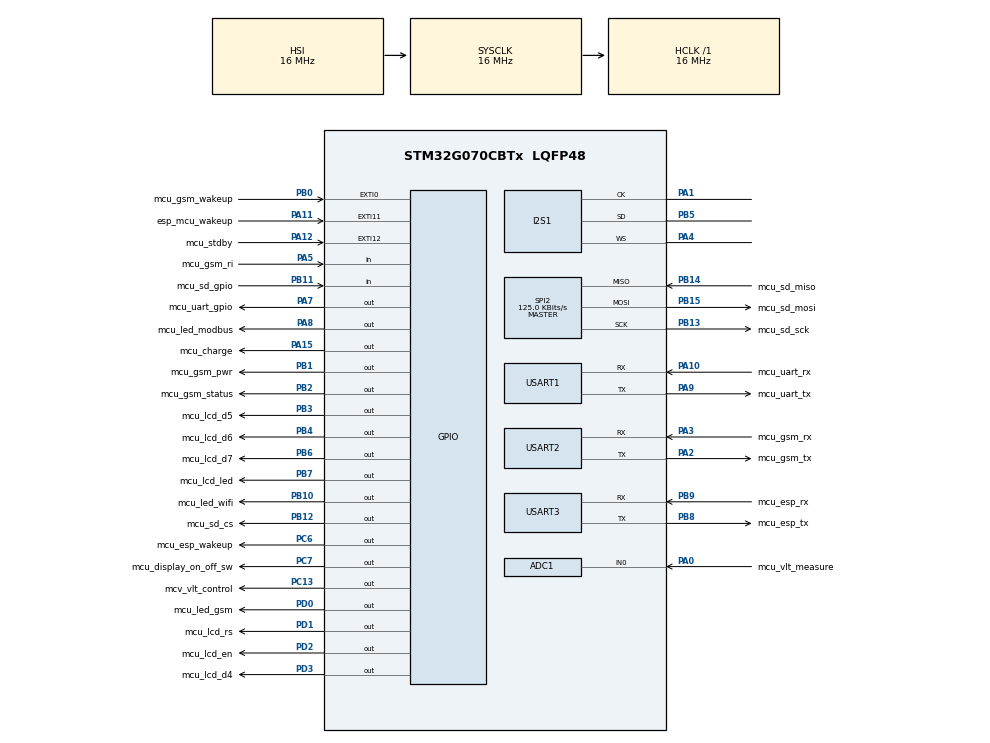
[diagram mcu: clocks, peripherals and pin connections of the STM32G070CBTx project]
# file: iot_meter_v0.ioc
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ADC1.Channel-0\#ChannelRegularConversion=ADC_CHANNEL_0
ADC1.NbrOfConversionFlag=1
ADC1.Rank-0\#ChannelRegularConversion=1
ADC1.SamplingTime-0\#ChannelRegularConversion=ADC_SAMPLINGTIME_COMMON_1
ADC1.SelectedChannel=ADC_CHANNEL_0
ADC1.master=1
Dma.Request0=USART2_RX
Dma.USART2_RX.0.Direction=DMA_PERIPH_TO_MEMORY
Dma.USART2_RX.0.EventEnable=DISABLE
Dma.USART2_RX.0.Instance=DMA1_Channel1
Dma.USART2_RX.0.MemDataAlignment=DMA_MDATAALIGN_BYTE
Dma.USART2_RX.0.MemInc=DMA_MINC_ENABLE
Dma.USART2_RX.0.Mode=DMA_NORMAL
Dma.USART2_RX.0.PeriphDataAlignment=DMA_PDATAALIGN_BYTE
Dma.USART2_RX.0.PeriphInc=DMA_PINC_DISABLE
Dma.USART2_RX.0.Polarity=HAL_DMAMUX_REQ_GEN_RISING
Dma.USART2_RX.0.Priority=DMA_PRIORITY_LOW
Dma.USART2_RX.0.RequestNumber=1
Dma.USART2_RX.0.SignalID=NONE
Dma.USART2_RX.0.SyncEnable=DISABLE
Dma.USART2_RX.0.SyncPolarity=HAL_DMAMUX_SYNC_NO_EVENT
Dma.USART2_RX.0.SyncRequestNumber=1
Dma.USART2_RX.0.SyncSignalID=NONE
FREERTOS.Mutexes01=lcdMutex,Dynamic,NULL,Available
FREERTOS.Tasks01=defaultTask,24,128,StartDefaultTask,Default,NULL,Dynamic,NULL,NULL;GSM_Task,24,256,StartGsmTask,Default,NULL,Dynamic,NULL,NULL;LCD_Task,16,256,StartLcdTask,Default,NULL,Dynamic,NULL,NULL;LED_Task,8,128,StartLedTask,Default,NULL,Dynamic,NULL,NULL;Modbus_Task,32,512,StartModbusTask,Default,NULL,Dynamic,NULL,NULL;SD_Task,24,1024,StartSdTask,Default,NULL,Dynamic,NULL,NULL;Battery_Task,8,128,StartBatteryTask,Default,NULL,Dynamic,NULL,NULL;ESP_Task,8,512,StartEspTask,Default,NULL,Dynamic,NULL,NULL
FREERTOS.configTOTAL_HEAP_SIZE=15360
I2S1.ErrorAudioFreq=-0.8 %
I2S1.FullDuplexMode=I2S_FULLDUPLEXMODE_DISABLE
I2S1.Instance=SPI$Index
I2S1.RealAudioFreq=7.936 KHz
I2S1.VirtualMode=I2S_MODE_SLAVE
Mcu.Family=STM32G0
Mcu.Name=STM32G070CBTx
Mcu.Package=LQFP48
NVIC.DMA1_Channel1_IRQn=true\:3\:0\:false\:false\:true\:true\:false\:true\:true
NVIC.TIM1_BRK_UP_TRG_COM_IRQn=true\:3\:0\:false\:false\:true\:false\:false\:true\:true
NVIC.TimeBase=TIM1_BRK_UP_TRG_COM_IRQn
NVIC.TimeBaseIP=TIM1
NVIC.USART2_IRQn=true\:3\:0\:false\:false\:true\:true\:true\:true\:true
PA0.GPIO_Label=mcu_vlt_measure
PA0.Mode=IN0
PA0.Signal=ADC1_IN0
PA1.Mode=Half_Duplex_Slave
PA1.Signal=I2S1_CK
PA10.GPIO_Label=mcu_uart_rx
PA10.Mode=Asynchronous
PA10.Signal=USART1_RX
PA11\ [PA9].GPIO_Label=esp_mcu_wakeup
PA11\ [PA9].Signal=GPXTI11
PA12\ [PA10].GPIO_Label=mcu_stdby
PA12\ [PA10].Signal=GPXTI12
PA13.Mode=Serial_Wire
PA13.Signal=SYS_SWDIO
PA14-BOOT0.Mode=Serial_Wire
PA14-BOOT0.Signal=SYS_SWCLK
PA15.GPIO_Label=mcu_charge
PA15.Signal=GPIO_Output
PA2.GPIO_Label=mcu_gsm_tx
PA2.Mode=Asynchronous
PA2.Signal=USART2_TX
PA3.GPIO_Label=mcu_gsm_rx
PA3.GPIO_PuPd=GPIO_PULLUP
PA3.Mode=Asynchronous
PA3.Signal=USART2_RX
PA4.Mode=Half_Duplex_Slave
PA4.Signal=I2S1_WS
PA5.GPIO_Label=mcu_gsm_ri
PA5.Signal=GPIO_Input
PA7.GPIO_Label=mcu_uart_gpio
PA7.Signal=GPIO_Output
PA8.GPIO_Label=mcu_led_modbus
PA8.Signal=GPIO_Output
PA9.GPIO_Label=mcu_uart_tx
PA9.Mode=Asynchronous
PA9.Signal=USART1_TX
PB0.GPIO_Label=mcu_gsm_wakeup
PB0.Signal=GPXTI0
PB1.GPIO_Label=mcu_gsm_pwr
PB1.Signal=GPIO_Output
PB10.GPIO_Label=mcu_led_wifi
PB10.Signal=GPIO_Output
PB11.GPIO_Label=mcu_sd_gpio
PB11.GPIO_PuPd=GPIO_PULLUP
PB11.Signal=GPIO_Input
PB12.GPIO_Label=mcu_sd_cs
PB12.GPIO_PuPd=GPIO_NOPULL
PB12.Signal=GPIO_Output
PB13.GPIO_Label=mcu_sd_sck
PB13.GPIO_PuPd=GPIO_PULLUP
PB13.Mode=Full_Duplex_Master
PB13.Signal=SPI2_SCK
PB14.GPIO_Label=mcu_sd_miso
PB14.GPIO_PuPd=GPIO_PULLUP
PB14.Mode=Full_Duplex_Master
PB14.Signal=SPI2_MISO
PB15.GPIO_Label=mcu_sd_mosi
PB15.GPIO_PuPd=GPIO_PULLUP
PB15.Mode=Full_Duplex_Master
PB15.Signal=SPI2_MOSI
PB2.GPIO_Label=mcu_gsm_status
PB2.Signal=GPIO_Output
PB3.GPIO_Label=mcu_lcd_d5
PB3.Signal=GPIO_Output
PB4.GPIO_Label=mcu_lcd_d6
PB4.Signal=GPIO_Output
PB5.Mode=Half_Duplex_Slave
PB5.Signal=I2S1_SD
PB6.GPIO_Label=mcu_lcd_d7
PB6.Signal=GPIO_Output
PB7.GPIO_Label=mcu_lcd_led
PB7.Signal=GPIO_Output
PB8.GPIO_Label=mcu_esp_tx
PB8.Mode=Asynchronous
PB8.Signal=USART3_TX
PB9.GPIO_Label=mcu_esp_rx
PB9.Mode=Asynchronous
PB9.Signal=USART3_RX
PC13.GPIO_Label=mcv_vlt_control
PC13.Signal=GPIO_Output
PC14-OSC32_IN\ (PC14).Mode=LSE-External-Oscillator
PC14-OSC32_IN\ (PC14).Signal=RCC_OSC32_IN
PC15-OSC32_OUT\ (PC15).Mode=LSE-External-Oscillator
PC15-OSC32_OUT\ (PC15).Signal=RCC_OSC32_OUT
PC6.GPIO_Label=mcu_esp_wakeup
PC6.Signal=GPIO_Output
PC7.GPIO_Label=mcu_display_on_off_sw
PC7.Signal=GPIO_Output
PD0.GPIO_Label=mcu_led_gsm
PD0.Signal=GPIO_Output
PD1.GPIO_Label=mcu_lcd_rs
PD1.Signal=GPIO_Output
PD2.GPIO_Label=mcu_lcd_en
PD2.Signal=GPIO_Output
PD3.GPIO_Label=mcu_lcd_d4
PD3.Signal=GPIO_Output
PF0-OSC_IN\ (PF0).Mode=HSE-External-Oscillator
PF0-OSC_IN\ (PF0).Signal=RCC_OSC_IN
PF1-OSC_OUT\ (PF1).Mode=HSE-External-Oscillator
PF1-OSC_OUT\ (PF1).Signal=RCC_OSC_OUT
ProjectManager.HeapSize=0x200
ProjectManager.StackSize=0x400
ProjectManager.TargetToolchain=CMake
RCC.AHBFreq_Value=16000000
RCC.CortexFreq_Value=16000000
RCC.EXTERNAL_CLOCK_VALUE=48000
RCC.HCLKFreq_Value=16000000
RCC.HSE_VALUE=8000000
RCC.HSI_VALUE=16000000
RCC.SYSCLKFreq_VALUE=16000000
RCC.VCOOutputFreq_Value=128000000
SPI2.BaudRatePrescaler=SPI_BAUDRATEPRESCALER_128
SPI2.CalculateBaudRate=125.0 KBits/s
SPI2.DataSize=SPI_DATASIZE_8BIT
SPI2.Direction=SPI_DIRECTION_2LINES
SPI2.Mode=SPI_MODE_MASTER
SPI2.NSSPMode=SPI_NSS_PULSE_DISABLE
SPI2.VirtualType=VM_MASTER
USART1.VirtualMode-Asynchronous=VM_ASYNC
USART2.VirtualMode-Asynchronous=VM_ASYNC
USART3.VirtualMode-Asynchronous=VM_ASYNC
VP_FATFS_VS_Generic.Mode=User_defined
VP_FREERTOS_VS_CMSIS_V2.Mode=CMSIS_V2
VP_RTC_VS_RTC_Activate.Mode=RTC_Enabled
VP_SYS_VS_tim1.Mode=TIM1
board=custom

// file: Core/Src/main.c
/* USER CODE BEGIN Header */
/**
  ******************************************************************************
  * @file           : main.c
  * @brief          : Main program body
  ******************************************************************************
  * @attention
  *
  * Copyright (c) 2026 STMicroelectronics.
  * All rights reserved.
  *
  * This software is licensed under terms that can be found in the LICENSE file
  * in the root directory of this software component.
  * If no LICENSE file comes with this software, it is provided AS-IS.
  *
  ******************************************************************************
  */
/* USER CODE END Header */
#include "main.h"
#include "cmsis_os.h"
#include "app_fatfs.h"

/* USER CODE BEGIN Includes */
#include "lcd.h"     // હવે આ લાઈન ક્યારેય ગાયબ નહિ થાય!
#include <string.h>
#include <stdio.h>
#include "quectel_ec200.h"
#include "lwcell/lwcell.h"
#include "lwcell/apps/lwcell_mqtt_client.h"
/* USER CODE END Includes */

/* USER CODE BEGIN PTD */
typedef struct {
    int wifi_communication_on;      // 1 = ચાલુ, 0 = બંધ
    int modbus_communication_on;    // 1 = ચાલુ, 0 = બંધ
    int gsm_communication_on;       // 1 = ચાલુ, 0 = બંધ
    int battery_healthy;
} MeterData_t;

typedef enum {
    GSM_STATE_SYNC,
    GSM_STATE_SIM,
    GSM_STATE_SIGNAL,
    GSM_STATE_NETWORK,
    GSM_STATE_READY
} GsmState_t;
/* USER CODE END PTD */

ADC_HandleTypeDef hadc1;

I2S_HandleTypeDef hi2s1;

RTC_HandleTypeDef hrtc;

SPI_HandleTypeDef hspi2;

UART_HandleTypeDef huart1;
UART_HandleTypeDef huart2;
UART_HandleTypeDef huart3;
DMA_HandleTypeDef hdma_usart2_rx;

/* Definitions for defaultTask */
osThreadId_t defaultTaskHandle;
const osThreadAttr_t defaultTask_attributes = {
  .name = "defaultTask",
  .priority = (osPriority_t) osPriorityNormal,
  .stack_size = 128 * 4
};
/* Definitions for GSM_Task */
osThreadId_t GSM_TaskHandle;
const osThreadAttr_t GSM_Task_attributes = {
  .name = "GSM_Task",
  .priority = (osPriority_t) osPriorityNormal,
  .stack_size = 256 * 4
};
/* Definitions for LCD_Task */
osThreadId_t LCD_TaskHandle;
const osThreadAttr_t LCD_Task_attributes = {
  .name = "LCD_Task",
  .priority = (osPriority_t) osPriorityBelowNormal,
  .stack_size = 256 * 4
};
/* Definitions for LED_Task */
osThreadId_t LED_TaskHandle;
const osThreadAttr_t LED_Task_attributes = {
  .name = "LED_Task",
  .priority = (osPriority_t) osPriorityLow,
  .stack_size = 128 * 4
};
/* Definitions for Modbus_Task */
osThreadId_t Modbus_TaskHandle;
const osThreadAttr_t Modbus_Task_attributes = {
  .name = "Modbus_Task",
  .priority = (osPriority_t) osPriorityAboveNormal,
  .stack_size = 512 * 4
};
/* Definitions for SD_Task */
osThreadId_t SD_TaskHandle;
const osThreadAttr_t SD_Task_attributes = {
  .name = "SD_Task",
  .priority = (osPriority_t) osPriorityNormal,
  .stack_size = 1024 * 4
};
/* Definitions for Battery_Task */
osThreadId_t Battery_TaskHandle;
const osThreadAttr_t Battery_Task_attributes = {
  .name = "Battery_Task",
  .priority = (osPriority_t) osPriorityLow,
  .stack_size = 128 * 4
};
/* Definitions for ESP_Task */
osThreadId_t ESP_TaskHandle;
const osThreadAttr_t ESP_Task_attributes = {
  .name = "ESP_Task",
  .priority = (osPriority_t) osPriorityLow,
  .stack_size = 512 * 4
};
/* Definitions for lcdMutex */
osMutexId_t lcdMutexHandle;
const osMutexAttr_t lcdMutex_attributes = {
  .name = "lcdMutex"
};
/* USER CODE BEGIN PV */
MeterData_t myMeter = {0};
extern osMutexId_t lcdMutexHandle;
Quectel_Handle_t MyModem; // 🔴 આ આપણું માસ્ટર મોડેમ હેન્ડલ છે
uint32_t DBG_RxCount = 0;       // કેટલી વાર ડેટા આવ્યો?
uint32_t DBG_ErrCount = 0;      // કેટલી વાર એરર આવી?
uint32_t DBG_LastErrorCode = 0; // છેલ્લી એરર કઈ હતી?
char DBG_LastData[50] = {0};    // છેલ્લે ખરેખર શું ડેટા આવ્યો હતો?
/* USER CODE END PV */

void SystemClock_Config(void);
static void MX_GPIO_Init(void);
static void MX_DMA_Init(void);
static void MX_ADC1_Init(void);
static void MX_RTC_Init(void);
static void MX_SPI2_Init(void);
static void MX_USART1_UART_Init(void);
static void MX_USART2_UART_Init(void);
static void MX_USART3_UART_Init(void);
static void MX_I2S1_Init(void);
void StartDefaultTask(void *argument);
void StartGsmTask(void *argument);
void StartLcdTask(void *argument);
void StartLedTask(void *argument);
void StartModbusTask(void *argument);
void StartSdTask(void *argument);
void StartBatteryTask(void *argument);
void StartEspTask(void *argument);

int main(void)
{

  /* MCU Configuration--------------------------------------------------------*/

  /* Reset of all peripherals, Initializes the Flash interface and the Systick. */
  HAL_Init();

  /* Configure the system clock */
  SystemClock_Config();

  /* USER CODE BEGIN SysInit */
  HAL_Delay(2000);
  /* USER CODE END SysInit */

  /* Initialize all configured peripherals */
  MX_GPIO_Init();
  MX_DMA_Init();
  MX_ADC1_Init();
  MX_RTC_Init();
  MX_SPI2_Init();
  MX_USART1_UART_Init();
  MX_USART2_UART_Init();
  MX_USART3_UART_Init();
  if (MX_FATFS_Init() != APP_OK) {
    Error_Handler();
  }
  MX_I2S1_Init();
  /* USER CODE BEGIN 2 */

  HAL_GPIO_WritePin(mcu_charge_GPIO_Port, mcu_charge_Pin, GPIO_PIN_SET);

/* USER CODE BEGIN 2 */

  HAL_GPIO_WritePin(mcu_charge_GPIO_Port, mcu_charge_Pin, GPIO_PIN_SET);
  HAL_GPIO_WritePin(mcu_lcd_led_GPIO_Port, mcu_lcd_led_Pin, GPIO_PIN_SET);

  Quectel_Init(&MyModem, &huart2);
  /* USER CODE END 2 */

  /* Init scheduler */
  osKernelInitialize();
  /* Create the mutex(es) */
  /* creation of lcdMutex */
  lcdMutexHandle = osMutexNew(&lcdMutex_attributes);

  /* Create the thread(s) */
  /* creation of defaultTask */
  defaultTaskHandle = osThreadNew(StartDefaultTask, NULL, &defaultTask_attributes);

  /* creation of GSM_Task */
  GSM_TaskHandle = osThreadNew(StartGsmTask, NULL, &GSM_Task_attributes);

  /* creation of LCD_Task */
  LCD_TaskHandle = osThreadNew(StartLcdTask, NULL, &LCD_Task_attributes);

  /* creation of LED_Task */
  LED_TaskHandle = osThreadNew(StartLedTask, NULL, &LED_Task_attributes);

  /* creation of Modbus_Task */
  Modbus_TaskHandle = osThreadNew(StartModbusTask, NULL, &Modbus_Task_attributes);

  /* creation of SD_Task */
  SD_TaskHandle = osThreadNew(StartSdTask, NULL, &SD_Task_attributes);

  /* creation of Battery_Task */
  Battery_TaskHandle = osThreadNew(StartBatteryTask, NULL, &Battery_Task_attributes);

  /* creation of ESP_Task */
  ESP_TaskHandle = osThreadNew(StartEspTask, NULL, &ESP_Task_attributes);

  /* Start scheduler */
  osKernelStart();

  /* We should never get here as control is now taken by the scheduler */

  /* Infinite loop */
  while (1)
  {

  }
}

void SystemClock_Config(void)
{
  RCC_OscInitTypeDef RCC_OscInitStruct = {0};
  RCC_ClkInitTypeDef RCC_ClkInitStruct = {0};

  /** Configure the main internal regulator output voltage
  */
  HAL_PWREx_ControlVoltageScaling(PWR_REGULATOR_VOLTAGE_SCALE1);

  /** Initializes the RCC Oscillators according to the specified parameters
  * in the RCC_OscInitTypeDef structure.
  */
  RCC_OscInitStruct.OscillatorType = RCC_OSCILLATORTYPE_HSI|RCC_OSCILLATORTYPE_LSI;
  RCC_OscInitStruct.HSIState = RCC_HSI_ON;
  RCC_OscInitStruct.HSIDiv = RCC_HSI_DIV1;
  RCC_OscInitStruct.HSICalibrationValue = RCC_HSICALIBRATION_DEFAULT;
  RCC_OscInitStruct.LSIState = RCC_LSI_ON;
  RCC_OscInitStruct.PLL.PLLState = RCC_PLL_NONE;
  if (HAL_RCC_OscConfig(&RCC_OscInitStruct) != HAL_OK)
  {
    Error_Handler();
  }

  /** Initializes the CPU, AHB and APB buses clocks
  */
  RCC_ClkInitStruct.ClockType = RCC_CLOCKTYPE_HCLK|RCC_CLOCKTYPE_SYSCLK
                              |RCC_CLOCKTYPE_PCLK1;
  RCC_ClkInitStruct.SYSCLKSource = RCC_SYSCLKSOURCE_HSI;
  RCC_ClkInitStruct.AHBCLKDivider = RCC_SYSCLK_DIV1;
  RCC_ClkInitStruct.APB1CLKDivider = RCC_HCLK_DIV1;

  if (HAL_RCC_ClockConfig(&RCC_ClkInitStruct, FLASH_LATENCY_0) != HAL_OK)
  {
    Error_Handler();
  }
}

static void MX_ADC1_Init(void)
{

  ADC_ChannelConfTypeDef sConfig = {0};

  /** Configure the global features of the ADC (Clock, Resolution, Data Alignment and number of conversion)
  */
  hadc1.Instance = ADC1;
  hadc1.Init.ClockPrescaler = ADC_CLOCK_SYNC_PCLK_DIV2;
  hadc1.Init.Resolution = ADC_RESOLUTION_12B;
  hadc1.Init.DataAlign = ADC_DATAALIGN_RIGHT;
  hadc1.Init.ScanConvMode = ADC_SCAN_DISABLE;
  hadc1.Init.EOCSelection = ADC_EOC_SINGLE_CONV;
  hadc1.Init.LowPowerAutoWait = DISABLE;
  hadc1.Init.LowPowerAutoPowerOff = DISABLE;
  hadc1.Init.ContinuousConvMode = DISABLE;
  hadc1.Init.NbrOfConversion = 1;
  hadc1.Init.DiscontinuousConvMode = DISABLE;
  hadc1.Init.ExternalTrigConv = ADC_SOFTWARE_START;
  hadc1.Init.ExternalTrigConvEdge = ADC_EXTERNALTRIGCONVEDGE_NONE;
  hadc1.Init.DMAContinuousRequests = DISABLE;
  hadc1.Init.Overrun = ADC_OVR_DATA_PRESERVED;
  hadc1.Init.SamplingTimeCommon1 = ADC_SAMPLETIME_1CYCLE_5;
  hadc1.Init.SamplingTimeCommon2 = ADC_SAMPLETIME_1CYCLE_5;
  hadc1.Init.OversamplingMode = DISABLE;
  hadc1.Init.TriggerFrequencyMode = ADC_TRIGGER_FREQ_HIGH;
  if (HAL_ADC_Init(&hadc1) != HAL_OK)
  {
    Error_Handler();
  }

  /** Configure Regular Channel
  */
  sConfig.Channel = ADC_CHANNEL_0;
  sConfig.Rank = ADC_REGULAR_RANK_1;
  sConfig.SamplingTime = ADC_SAMPLINGTIME_COMMON_1;
  if (HAL_ADC_ConfigChannel(&hadc1, &sConfig) != HAL_OK)
  {
    Error_Handler();
  }

}

static void MX_I2S1_Init(void)
{

  hi2s1.Instance = SPI1;
  hi2s1.Init.Mode = I2S_MODE_SLAVE_TX;
  hi2s1.Init.Standard = I2S_STANDARD_PHILIPS;
  hi2s1.Init.DataFormat = I2S_DATAFORMAT_16B;
  hi2s1.Init.MCLKOutput = I2S_MCLKOUTPUT_DISABLE;
  hi2s1.Init.AudioFreq = I2S_AUDIOFREQ_8K;
  hi2s1.Init.CPOL = I2S_CPOL_LOW;
  if (HAL_I2S_Init(&hi2s1) != HAL_OK)
  {
    Error_Handler();
  }

}

static void MX_RTC_Init(void)
{

  /** Initialize RTC Only
  */
  hrtc.Instance = RTC;
  hrtc.Init.HourFormat = RTC_HOURFORMAT_24;
  hrtc.Init.AsynchPrediv = 127;
  hrtc.Init.SynchPrediv = 255;
  hrtc.Init.OutPut = RTC_OUTPUT_DISABLE;
  hrtc.Init.OutPutRemap = RTC_OUTPUT_REMAP_NONE;
  hrtc.Init.OutPutPolarity = RTC_OUTPUT_POLARITY_HIGH;
  hrtc.Init.OutPutType = RTC_OUTPUT_TYPE_OPENDRAIN;
  hrtc.Init.OutPutPullUp = RTC_OUTPUT_PULLUP_NONE;
  if (HAL_RTC_Init(&hrtc) != HAL_OK)
  {
    Error_Handler();
  }

}

static void MX_SPI2_Init(void)
{

  /* SPI2 parameter configuration*/
  hspi2.Instance = SPI2;
  hspi2.Init.Mode = SPI_MODE_MASTER;
  hspi2.Init.Direction = SPI_DIRECTION_2LINES;
  hspi2.Init.DataSize = SPI_DATASIZE_8BIT;
  hspi2.Init.CLKPolarity = SPI_POLARITY_LOW;
  hspi2.Init.CLKPhase = SPI_PHASE_1EDGE;
  hspi2.Init.NSS = SPI_NSS_SOFT;
  hspi2.Init.BaudRatePrescaler = SPI_BAUDRATEPRESCALER_128;
  hspi2.Init.FirstBit = SPI_FIRSTBIT_MSB;
  hspi2.Init.TIMode = SPI_TIMODE_DISABLE;
  hspi2.Init.CRCCalculation = SPI_CRCCALCULATION_DISABLE;
  hspi2.Init.CRCPolynomial = 7;
  hspi2.Init.CRCLength = SPI_CRC_LENGTH_DATASIZE;
  hspi2.Init.NSSPMode = SPI_NSS_PULSE_DISABLE;
  if (HAL_SPI_Init(&hspi2) != HAL_OK)
  {
    Error_Handler();
  }

}

static void MX_USART1_UART_Init(void)
{

  huart1.Instance = USART1;
  huart1.Init.BaudRate = 115200;
  huart1.Init.WordLength = UART_WORDLENGTH_8B;
  huart1.Init.StopBits = UART_STOPBITS_1;
  huart1.Init.Parity = UART_PARITY_NONE;
  huart1.Init.Mode = UART_MODE_TX_RX;
  huart1.Init.HwFlowCtl = UART_HWCONTROL_NONE;
  huart1.Init.OverSampling = UART_OVERSAMPLING_16;
  huart1.Init.OneBitSampling = UART_ONE_BIT_SAMPLE_DISABLE;
  huart1.Init.ClockPrescaler = UART_PRESCALER_DIV1;
  huart1.AdvancedInit.AdvFeatureInit = UART_ADVFEATURE_NO_INIT;
  if (HAL_UART_Init(&huart1) != HAL_OK)
  {
    Error_Handler();
  }
  if (HAL_UARTEx_SetTxFifoThreshold(&huart1, UART_TXFIFO_THRESHOLD_1_8) != HAL_OK)
  {
    Error_Handler();
  }
  if (HAL_UARTEx_SetRxFifoThreshold(&huart1, UART_RXFIFO_THRESHOLD_1_8) != HAL_OK)
  {
    Error_Handler();
  }
  if (HAL_UARTEx_DisableFifoMode(&huart1) != HAL_OK)
  {
    Error_Handler();
  }

}

static void MX_USART2_UART_Init(void)
{

  huart2.Instance = USART2;
  huart2.Init.BaudRate = 115200;
  huart2.Init.WordLength = UART_WORDLENGTH_8B;
  huart2.Init.StopBits = UART_STOPBITS_1;
  huart2.Init.Parity = UART_PARITY_NONE;
  huart2.Init.Mode = UART_MODE_TX_RX;
  huart2.Init.HwFlowCtl = UART_HWCONTROL_NONE;
  huart2.Init.OverSampling = UART_OVERSAMPLING_16;
  huart2.Init.OneBitSampling = UART_ONE_BIT_SAMPLE_DISABLE;
  huart2.Init.ClockPrescaler = UART_PRESCALER_DIV1;
  huart2.AdvancedInit.AdvFeatureInit = UART_ADVFEATURE_NO_INIT;
  if (HAL_UART_Init(&huart2) != HAL_OK)
  {
    Error_Handler();
  }
  if (HAL_UARTEx_SetTxFifoThreshold(&huart2, UART_TXFIFO_THRESHOLD_1_8) != HAL_OK)
  {
    Error_Handler();
  }
  if (HAL_UARTEx_SetRxFifoThreshold(&huart2, UART_RXFIFO_THRESHOLD_1_8) != HAL_OK)
  {
    Error_Handler();
  }
  if (HAL_UARTEx_DisableFifoMode(&huart2) != HAL_OK)
  {
    Error_Handler();
  }

}

static void MX_USART3_UART_Init(void)
{

  huart3.Instance = USART3;
  huart3.Init.BaudRate = 115200;
  huart3.Init.WordLength = UART_WORDLENGTH_8B;
  huart3.Init.StopBits = UART_STOPBITS_1;
  huart3.Init.Parity = UART_PARITY_NONE;
  huart3.Init.Mode = UART_MODE_TX_RX;
  huart3.Init.HwFlowCtl = UART_HWCONTROL_NONE;
  huart3.Init.OverSampling = UART_OVERSAMPLING_16;
  huart3.Init.OneBitSampling = UART_ONE_BIT_SAMPLE_DISABLE;
  huart3.Init.ClockPrescaler = UART_PRESCALER_DIV1;
  huart3.AdvancedInit.AdvFeatureInit = UART_ADVFEATURE_NO_INIT;
  if (HAL_UART_Init(&huart3) != HAL_OK)
  {
    Error_Handler();
  }

}

static void MX_DMA_Init(void)
{

  /* DMA controller clock enable */
  __HAL_RCC_DMA1_CLK_ENABLE();

  /* DMA interrupt init */
  /* DMA1_Channel1_IRQn interrupt configuration */
  HAL_NVIC_SetPriority(DMA1_Channel1_IRQn, 3, 0);
  HAL_NVIC_EnableIRQ(DMA1_Channel1_IRQn);

}

static void MX_GPIO_Init(void)
{
  GPIO_InitTypeDef GPIO_InitStruct = {0};

  /* GPIO Ports Clock Enable */
  __HAL_RCC_GPIOC_CLK_ENABLE();
  __HAL_RCC_GPIOF_CLK_ENABLE();
  __HAL_RCC_GPIOA_CLK_ENABLE();
  __HAL_RCC_GPIOB_CLK_ENABLE();
  __HAL_RCC_GPIOD_CLK_ENABLE();

  /*Configure GPIO pin Output Level */
  HAL_GPIO_WritePin(GPIOC, mcv_vlt_control_Pin|mcu_esp_wakeup_Pin|mcu_display_on_off_sw_Pin, GPIO_PIN_RESET);

  /*Configure GPIO pin Output Level */
  HAL_GPIO_WritePin(GPIOA, mcu_uart_gpio_Pin|mcu_led_modbus_Pin|mcu_charge_Pin, GPIO_PIN_RESET);

  /*Configure GPIO pin Output Level */
  HAL_GPIO_WritePin(GPIOB, mcu_gsm_pwr_Pin|mcu_gsm_status_Pin|mcu_led_wifi_Pin|mcu_sd_cs_Pin
                          |mcu_lcd_d5_Pin|mcu_lcd_d6_Pin|mcu_lcd_d7_Pin|mcu_lcd_led_Pin, GPIO_PIN_RESET);

  /*Configure GPIO pin Output Level */
  HAL_GPIO_WritePin(GPIOD, mcu_led_gsm_Pin|mcu_lcd_rs_Pin|mcu_lcd_en_Pin|mcu_lcd_d4_Pin, GPIO_PIN_RESET);

  /*Configure GPIO pins : mcv_vlt_control_Pin mcu_esp_wakeup_Pin mcu_display_on_off_sw_Pin */
  GPIO_InitStruct.Pin = mcv_vlt_control_Pin|mcu_esp_wakeup_Pin|mcu_display_on_off_sw_Pin;
  GPIO_InitStruct.Mode = GPIO_MODE_OUTPUT_PP;
  GPIO_InitStruct.Pull = GPIO_NOPULL;
  GPIO_InitStruct.Speed = GPIO_SPEED_FREQ_LOW;
  HAL_GPIO_Init(GPIOC, &GPIO_InitStruct);

  /*Configure GPIO pin : mcu_gsm_ri_Pin */
  GPIO_InitStruct.Pin = mcu_gsm_ri_Pin;
  GPIO_InitStruct.Mode = GPIO_MODE_INPUT;
  GPIO_InitStruct.Pull = GPIO_NOPULL;
  HAL_GPIO_Init(mcu_gsm_ri_GPIO_Port, &GPIO_InitStruct);

  /*Configure GPIO pins : mcu_uart_gpio_Pin mcu_led_modbus_Pin mcu_charge_Pin */
  GPIO_InitStruct.Pin = mcu_uart_gpio_Pin|mcu_led_modbus_Pin|mcu_charge_Pin;
  GPIO_InitStruct.Mode = GPIO_MODE_OUTPUT_PP;
  GPIO_InitStruct.Pull = GPIO_NOPULL;
  GPIO_InitStruct.Speed = GPIO_SPEED_FREQ_LOW;
  HAL_GPIO_Init(GPIOA, &GPIO_InitStruct);

  /*Configure GPIO pin : mcu_gsm_wakeup_Pin */
  GPIO_InitStruct.Pin = mcu_gsm_wakeup_Pin;
  GPIO_InitStruct.Mode = GPIO_MODE_IT_RISING;
  GPIO_InitStruct.Pull = GPIO_NOPULL;
  HAL_GPIO_Init(mcu_gsm_wakeup_GPIO_Port, &GPIO_InitStruct);

  /*Configure GPIO pins : mcu_gsm_pwr_Pin mcu_gsm_status_Pin mcu_led_wifi_Pin mcu_sd_cs_Pin
                           mcu_lcd_d5_Pin mcu_lcd_d6_Pin mcu_lcd_d7_Pin mcu_lcd_led_Pin */
  GPIO_InitStruct.Pin = mcu_gsm_pwr_Pin|mcu_gsm_status_Pin|mcu_led_wifi_Pin|mcu_sd_cs_Pin
                          |mcu_lcd_d5_Pin|mcu_lcd_d6_Pin|mcu_lcd_d7_Pin|mcu_lcd_led_Pin;
  GPIO_InitStruct.Mode = GPIO_MODE_OUTPUT_PP;
  GPIO_InitStruct.Pull = GPIO_NOPULL;
  GPIO_InitStruct.Speed = GPIO_SPEED_FREQ_LOW;
  HAL_GPIO_Init(GPIOB, &GPIO_InitStruct);

  /*Configure GPIO pin : mcu_sd_gpio_Pin */
  GPIO_InitStruct.Pin = mcu_sd_gpio_Pin;
  GPIO_InitStruct.Mode = GPIO_MODE_INPUT;
  GPIO_InitStruct.Pull = GPIO_PULLUP;
  HAL_GPIO_Init(mcu_sd_gpio_GPIO_Port, &GPIO_InitStruct);

  /*Configure GPIO pins : esp_mcu_wakeup_Pin mcu_stdby_Pin */
  GPIO_InitStruct.Pin = esp_mcu_wakeup_Pin|mcu_stdby_Pin;
  GPIO_InitStruct.Mode = GPIO_MODE_IT_RISING;
  GPIO_InitStruct.Pull = GPIO_NOPULL;
  HAL_GPIO_Init(GPIOA, &GPIO_InitStruct);

  /*Configure GPIO pins : mcu_led_gsm_Pin mcu_lcd_rs_Pin mcu_lcd_en_Pin mcu_lcd_d4_Pin */
  GPIO_InitStruct.Pin = mcu_led_gsm_Pin|mcu_lcd_rs_Pin|mcu_lcd_en_Pin|mcu_lcd_d4_Pin;
  GPIO_InitStruct.Mode = GPIO_MODE_OUTPUT_PP;
  GPIO_InitStruct.Pull = GPIO_NOPULL;
  GPIO_InitStruct.Speed = GPIO_SPEED_FREQ_LOW;
  HAL_GPIO_Init(GPIOD, &GPIO_InitStruct);

}

/* USER CODE BEGIN 4 */

/*
void HAL_UARTEx_RxEventCallback(UART_HandleTypeDef *huart, uint16_t Size)
{
    // જો ડેટા huart2 (મોડેમ) માંથી આવ્યો હોય, તો આપણી લાઇબ્રેરીને આપો
    if (huart->Instance == USART2)
    {
        Quectel_UART_RxCpltCallback(&MyModem, Size);
    }
}
*/

void HAL_UARTEx_RxEventCallback(UART_HandleTypeDef *huart, uint16_t Size)
{
    if (huart->Instance == USART2)
    {
        DBG_RxCount++; // કાઉન્ટર વધારો

        // ડીબગીંગ માટે આવેલો ડેટા આપણા ગ્લોબલ એરેમાં કોપી કરો
        memset(DBG_LastData, 0, sizeof(DBG_LastData)); // જૂનો કચરો સાફ
        strncpy(DBG_LastData, (char*)MyModem.dma_rx_buffer, (Size < 50) ? Size : 49);

        // તમારો જૂનો કોડ...
        Quectel_UART_RxCpltCallback(&MyModem, Size);
        HAL_UARTEx_ReceiveToIdle_DMA(huart, MyModem.dma_rx_buffer, sizeof(MyModem.dma_rx_buffer));
        __HAL_DMA_DISABLE_IT(huart->hdmarx, DMA_IT_HT);
    }
}

/* USER CODE END 4 */

void StartDefaultTask(void *argument)
{
  for(;;)
  {
    osDelay(1);
  }
}

void StartGsmTask(void *argument)
{
  /* USER CODE BEGIN StartGsmTask */
  osDelay(2000);
  uint8_t fail_count = 0;
  GsmState_t gsm_state = GSM_STATE_SYNC; // શરૂઆત SYNC થી થશે

  // 🔴 ફર્સ્ટ કિક (DMA ના દરવાજા ખોલો)
  HAL_UARTEx_ReceiveToIdle_DMA(MyModem.huart, MyModem.dma_rx_buffer, sizeof(MyModem.dma_rx_buffer));
  __HAL_DMA_DISABLE_IT(MyModem.huart->hdmarx, DMA_IT_HT);

  /* Infinite loop */
  for(;;)
  {
      switch (gsm_state)
      {
          // ==========================================================
          // 🟢 STEP 0: મોડેમને જગાડવું અને સ્પીડ સેટ કરવી
          // ==========================================================
          case GSM_STATE_SYNC:
              if (osMutexAcquire(lcdMutexHandle, osWaitForever) == osOK) {
                  lcd_clear(); lcd_put_cur(0, 0); lcd_send_string("0. WAKING UP...");
                  osMutexRelease(lcdMutexHandle);
              }

              // Auto-Baud ડમી કમાન્ડ્સ
              for(int i=0; i<3; i++) {
                  HAL_UART_Transmit(MyModem.huart, (uint8_t*)"AT\r\n", 4, 200);
                  osDelay(300);
              }

              HAL_UART_AbortReceive(MyModem.huart);
              __HAL_UART_CLEAR_FLAG(MyModem.huart, UART_CLEAR_OREF | UART_CLEAR_NEF | UART_CLEAR_PEF | UART_CLEAR_FEF);
              MyModem.huart->ErrorCode = HAL_UART_ERROR_NONE;
              HAL_UARTEx_ReceiveToIdle_DMA(MyModem.huart, MyModem.dma_rx_buffer, sizeof(MyModem.dma_rx_buffer));
              __HAL_DMA_DISABLE_IT(MyModem.huart->hdmarx, DMA_IT_HT);

              // ફાઇનલ AT ચેક કરો
              if (Quectel_Send_AT_Command(&MyModem, "AT\r\n", "OK", 1000) == GSM_OK) {
                  fail_count = 0;
                  gsm_state = GSM_STATE_SIM; // જો OK આવે તો આગળના સ્ટેપમાં જાવ
              } else {
                  fail_count++;
              }
              break;

          // ==========================================================
          // 🟢 STEP 1: સીમ કાર્ડ ચેક કરો (SIM Card)
          // ==========================================================
          case GSM_STATE_SIM:
              if (osMutexAcquire(lcdMutexHandle, osWaitForever) == osOK) {
                  lcd_clear(); lcd_put_cur(0, 0); lcd_send_string("1. CHECK SIM...");
                  osMutexRelease(lcdMutexHandle);
              }

              if (Quectel_Send_AT_Command(&MyModem, "AT+CPIN?\r\n", "+CPIN: READY", 2000) == GSM_OK) {
                  fail_count = 0;
                  gsm_state = GSM_STATE_SIGNAL; // સીમ બરાબર છે, આગળ વધો

                  if (osMutexAcquire(lcdMutexHandle, osWaitForever) == osOK) {
                      lcd_put_cur(1, 0); lcd_send_string("SIM: OK");
                      osMutexRelease(lcdMutexHandle);
                  }
                  osDelay(1000);
              } else {
                  fail_count++;
              }
              break;

          // ==========================================================
          // 🟢 STEP 2: ટાવર / સિગ્નલ ચેક કરો (Signal Quality)
          // ==========================================================
          case GSM_STATE_SIGNAL:
              if (osMutexAcquire(lcdMutexHandle, osWaitForever) == osOK) {
                  lcd_clear(); lcd_put_cur(0, 0); lcd_send_string("2. CHECK TOWER...");
                  osMutexRelease(lcdMutexHandle);
              }

              if (Quectel_Send_AT_Command(&MyModem, "AT+CSQ\r\n", "+CSQ:", 2000) == GSM_OK) {
                  fail_count = 0;
                  gsm_state = GSM_STATE_NETWORK; // ટાવર છે, આગળ વધો

                  if (osMutexAcquire(lcdMutexHandle, osWaitForever) == osOK) {
                      lcd_put_cur(1, 0); lcd_send_string("TOWER: OK");
                      osMutexRelease(lcdMutexHandle);
                  }
                  osDelay(1000);
              } else {
                  fail_count++;
              }
              break;

          // ==========================================================
          // 🟢 STEP 3: નેટવર્ક રજીસ્ટ્રેશન ચેક કરો (Jio/Airtel)
          // ==========================================================
          case GSM_STATE_NETWORK:
              if (osMutexAcquire(lcdMutexHandle, osWaitForever) == osOK) {
                  lcd_clear(); lcd_put_cur(0, 0); lcd_send_string("3. NETWORK REG...");
                  osMutexRelease(lcdMutexHandle);
              }

              // 0,1 એટલે Home Network, અને 0,5 એટલે Roaming. આપણે બંનેને પાસ કરીશું.
              if (Quectel_Send_AT_Command(&MyModem, "AT+CREG?\r\n", "0,1", 2000) == GSM_OK ||
                  Quectel_Send_AT_Command(&MyModem, "AT+CREG?\r\n", "0,5", 2000) == GSM_OK)
              {
                  fail_count = 0;
                  gsm_state = GSM_STATE_READY; // નેટવર્ક પકડાઈ ગયું!

                  if (osMutexAcquire(lcdMutexHandle, osWaitForever) == osOK) {
                      lcd_put_cur(1, 0); lcd_send_string("NETWORK: OK");
                      osMutexRelease(lcdMutexHandle);
                  }
                  osDelay(1000);
              } else {
                  fail_count++;
              }
              break;

          // ==========================================================
          // 🟢 STEP 4: મોડેમ એકદમ રેડી છે! (Ready for Internet)
          // ==========================================================
          case GSM_STATE_READY:
              if (osMutexAcquire(lcdMutexHandle, osWaitForever) == osOK) {
                  lcd_clear();
                  lcd_put_cur(0, 0); lcd_send_string("GSM IS READY! \xDF"); // \xDF એટલે ડિગ્રી/સ્ટાર સિમ્બોલ
                  lcd_put_cur(1, 0); lcd_send_string("ALL SYSTEMS GO");
                  osMutexRelease(lcdMutexHandle);
              }

              // અહી આપણે ઈન્ટરનેટ (MQTT/HTTP) ચાલુ કરવાનો કોડ લખીશું
              osDelay(5000);
              break;
      }

      // 🔴 AUTO-RECOVERY: જો કોઈપણ સ્ટેપ સળંગ 3 વાર ફેલ જાય!
      if (fail_count >= 3)
      {
          if (osMutexAcquire(lcdMutexHandle, osWaitForever) == osOK) {
              lcd_clear(); lcd_put_cur(0, 0); lcd_send_string("ERROR: RESETTING");
              osMutexRelease(lcdMutexHandle);
          }

          // હાર્ડવેર રીસેટ પલ્સ
          HAL_GPIO_WritePin(mcu_gsm_pwr_GPIO_Port, mcu_gsm_pwr_Pin, GPIO_PIN_SET);
          osDelay(2100);
          HAL_GPIO_WritePin(mcu_gsm_pwr_GPIO_Port, mcu_gsm_pwr_Pin, GPIO_PIN_RESET);

          osDelay(10000);

          HAL_UART_AbortReceive(MyModem.huart);
          __HAL_UART_CLEAR_FLAG(MyModem.huart, UART_CLEAR_OREF | UART_CLEAR_NEF | UART_CLEAR_PEF | UART_CLEAR_FEF);
          MyModem.huart->ErrorCode = HAL_UART_ERROR_NONE;
          HAL_UARTEx_ReceiveToIdle_DMA(MyModem.huart, MyModem.dma_rx_buffer, sizeof(MyModem.dma_rx_buffer));
          __HAL_DMA_DISABLE_IT(MyModem.huart->hdmarx, DMA_IT_HT);

          fail_count = 0;
          gsm_state = GSM_STATE_SYNC; // પાછા ઝીરો થી શરૂ કરો!
      }

      osDelay(1000); // 1 સેકન્ડનો વિરામ
  }
  /* USER CODE END StartGsmTask */
}

void StartLcdTask(void *argument)
{
  /* USER CODE BEGIN StartLcdTask */
  osDelay(100);
  lcd_init();
  lcd_clear();

  osDelay(100);
  lcd_init();
  lcd_clear();

  HAL_GPIO_WritePin(mcu_lcd_led_GPIO_Port, mcu_lcd_led_Pin, GPIO_PIN_SET);
  lcd_put_cur(0, 0);
  lcd_send_string("SMART METER V1");
  lcd_put_cur(1, 0);
  lcd_send_string("System Booting..");

  // આ મેસેજને ૨ સેકન્ડ (2000 ms) માટે સ્ક્રીન પર રહેવા દો
  osDelay(2000);

    /* Infinite loop */
  for(;;)
  {
      osDelay(1000);
  }
  /* USER CODE END StartLcdTask */
}

void StartLedTask(void *argument)
{
  /* USER CODE BEGIN StartLedTask */

  uint32_t battery_timer = 0;

  /* Infinite loop */
  for(;;)
  {
    if (myMeter.wifi_communication_on == 1)
    {
      HAL_GPIO_WritePin(mcu_led_wifi_GPIO_Port, mcu_led_wifi_Pin, GPIO_PIN_RESET); // ON
    }
    else
    {
      HAL_GPIO_WritePin(mcu_led_wifi_GPIO_Port, mcu_led_wifi_Pin, GPIO_PIN_SET);   // OFF
    }
    if (myMeter.modbus_communication_on  == 1)
    {
        HAL_GPIO_WritePin(mcu_led_modbus_GPIO_Port, mcu_led_modbus_Pin, GPIO_PIN_RESET); // ON
    }
    else
    {
        HAL_GPIO_WritePin(mcu_led_modbus_GPIO_Port, mcu_led_modbus_Pin, GPIO_PIN_SET);   // OFF
    }
    if (myMeter.gsm_communication_on  == 1)
    {
        HAL_GPIO_WritePin(mcu_led_gsm_GPIO_Port, mcu_led_gsm_Pin, GPIO_PIN_RESET); // ON
    }
    else
    {
        HAL_GPIO_WritePin(mcu_led_gsm_GPIO_Port, mcu_led_gsm_Pin, GPIO_PIN_SET);   // OFF
    }
    if (myMeter.battery_healthy == 1)
    {
        if (battery_timer >= 10000)
        {

            battery_timer = 0; // ટાઈમર રીસેટ
        }
    }
    else
    {
        battery_timer = 0;
    }
    osDelay(1000);
    battery_timer += 100;
  }
  /* USER CODE END StartLedTask */
}

void StartModbusTask(void *argument)
{
  for(;;)
  {
    osDelay(1);
  }
}

void StartSdTask(void *argument)
{
  /* USER CODE BEGIN StartSdTask */
  FATFS fs;
  FIL fil;
  FRESULT fres;
  UINT bytesWrote;
  uint8_t is_mounted = 0; // કાર્ડ માઉન્ટ થયેલ છે કે નહીં તે જાણવા માટે
  /* Infinite loop */
  for(;;)
  {
      // ૧. SD કાર્ડ ફિઝિકલ ડિટેક્શન
      if (HAL_GPIO_ReadPin(mcu_sd_gpio_GPIO_Port, mcu_sd_gpio_Pin) != GPIO_PIN_RESET)
      {
          if (is_mounted)
          {
              f_mount(NULL, "", 0); // કાર્ડ નીકળી ગયું તો અનમાઉન્ટ કરો
              is_mounted = 0;
          }
          osDelay(1000);
          continue;
      }

      // ૨. કાર્ડ માઉન્ટિંગ (માત્ર એક જ વાર)
      if (!is_mounted)
      {
          fres = f_mount(&fs, "", 1);
          if (fres == FR_OK)
          {
              is_mounted = 1;
          }
          else
          {
              osDelay(1000);
              continue;
          }
      }
      // ૩. ફાઈલ ઓપરેશન
      fres = f_open(&fil, "test.txt", FA_WRITE | FA_OPEN_ALWAYS | FA_OPEN_APPEND);
      if (fres == FR_OK)
      {
          char myData[] = "SD OK! via RTOS\n";
          f_write(&fil, myData, strlen(myData), &bytesWrote);
          f_close(&fil);
          osDelay(3000); // દર ૧૦ સેકન્ડે ડેટા લખો
      }
      osDelay(10000); // દર ૧૦ સેકન્ડે ડેટા લખો
  }
  osDelay(2000);
  /* USER CODE END StartSdTask */
}

void StartBatteryTask(void *argument)
{
  for(;;)
  {
    osDelay(1);
  }
}

void StartEspTask(void *argument)
{
  /* USER CODE BEGIN StartEspTask */
  char at_command[] = "AT\r\n";
  uint8_t rx_buffer[15];
    /* Infinite loop */
  for(;;)
  {
      memset(rx_buffer, 0, sizeof(rx_buffer));
      HAL_UART_Transmit(&huart3, (uint8_t*)at_command, strlen(at_command), 100);
      HAL_StatusTypeDef status = HAL_UART_Receive(&huart3, rx_buffer, 5, 1000);
      osDelay(10000);
  }
  /* USER CODE END StartEspTask */
}

void HAL_TIM_PeriodElapsedCallback(TIM_HandleTypeDef *htim)
{
  if (htim->Instance == TIM1)
  {
    HAL_IncTick();
  }
}

void Error_Handler(void)
{
  __disable_irq();
  while (1)
  {
  }
}
